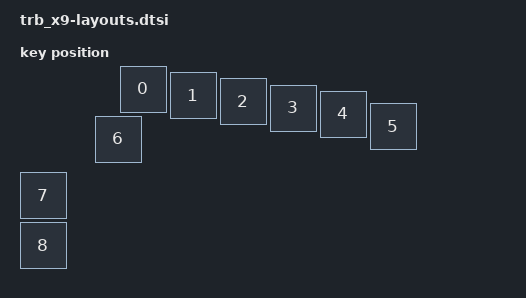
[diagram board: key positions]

#include <physical_layouts.dtsi>
/ {
    physical_layout0: physical_layout0 {
        compatible = "zmk,physical-layout";
        display-name = "Layout";
        keys
            = <&key_physical_attrs 100 100 250 25 0 0 0>
			,<&key_physical_attrs 100 100 350 38 0 0 0>
			,<&key_physical_attrs 100 100 450 50 0 0 0>
			,<&key_physical_attrs 100 100 550 63 0 0 0>
			,<&key_physical_attrs 100 100 650 75 0 0 0>
			,<&key_physical_attrs 100 100 750 100 0 0 0>
			,<&key_physical_attrs 100 100 200 125 0 0 0>
			,<&key_physical_attrs 100 100 50 238 0 0 0>
			,<&key_physical_attrs 100 100 50 338 0 0 0>
            ;
    };
};
